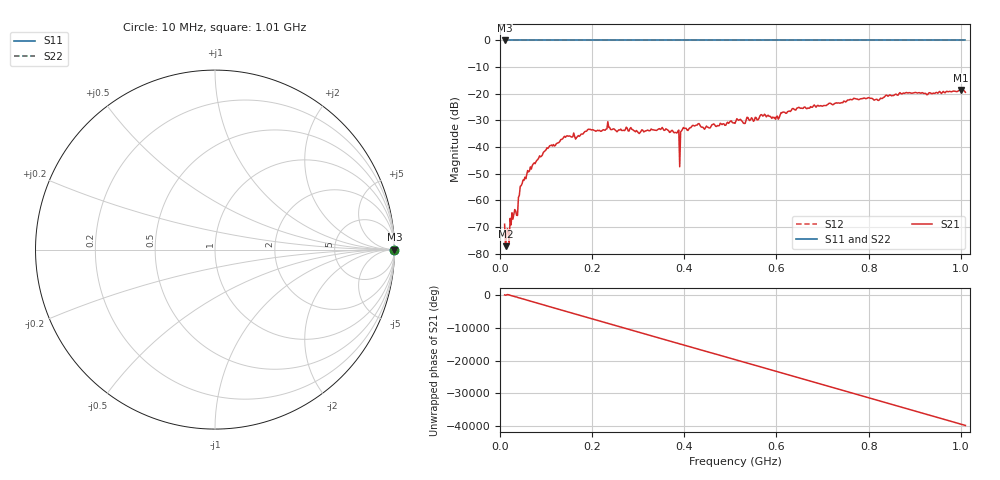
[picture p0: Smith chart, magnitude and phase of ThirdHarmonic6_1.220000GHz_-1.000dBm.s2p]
! 8/16/2025 12:47:47 PM
! C:\ANRITSUVNA\TEMP\TEMP.S2P
! CHANNEL.1
! TR.MEASUREMENT
! RAW.DATA
! RF.CORRECTION.OFF
! AVERAGING.OFF
! IF.BANDWIDTH: 5KHZ
! SWEEPTYPE:  FREQ.SWEEP(Linear)
! Reference Plane Port Info
! PORT:  PORT1  PORT2
! DISTANCE:  0  m  0  m
! TIME:  0  s  0  s
! PHASE.OFFSET:  0  deg.  0  deg.
! LOSS:  0  dB  0  dB
! REF.LOSS:  0  dB  0  dB
! REF.FREQ:  0  Hz  0  Hz
! Power Info
! POWER:  -20  dBm  -20  dBm
! EFF.POWER:  -20  dBm  -20  dBm
! SOURCE.ATTEN:  0  dB  0  dB
! TEST.ATTEN:  0  dB  0  dB
# GHZ S RI R 50.0
! FREQ.GHZ  S11RE  S11IM  S21RE  S21IM  S12RE  S12IM  S22RE  S22IM
!; PortSelection: Port_12
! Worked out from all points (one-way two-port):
!   501 points, 10 MHz to 1.01 GHz, reference 50 ohm
!   highest |S21| = -18.56 dB at 1 GHz (marker M1); lowest = -77.1 dB at 12 MHz (marker M2)
!   lowest |S11| = 0.0 dB at 10 MHz (marker M3)
!   |S11| at or under -10 dB: nowhere
!   |S22| runs from 0.0 to 0.0 dB; largest |S21 - S12| = 1.1
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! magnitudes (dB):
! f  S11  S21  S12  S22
! 10 MHz  0.0  -68.9  0.0  0.0
! 12 MHz  0.0  -77.1  0.0  0.0
! 16 MHz  0.0  -70.6  0.0  0.0
! 26 MHz  0.0  -64.6  0.0  0.0
! 38 MHz  0.0  -65.6  0.0  0.0
! 48 MHz  0.0  -53.7  0.0  0.0
! 70 MHz  0.0  -46.9  0.0  0.0
! 106 MHz  0.0  -40.0  0.0  0.0
! 178 MHz  0.0  -35.1  0.0  0.0
! 234 MHz  0.0  -30.5  0.0  0.0
! 344 MHz  0.0  -33.2  0.0  0.0
! 384 MHz  0.0  -34.7  0.0  0.0
! 386 MHz  0.0  -34.0  0.0  0.0
! 394 MHz  0.0  -33.9  0.0  0.0
! 396 MHz  0.0  -33.3  0.0  0.0
! 400 MHz  0.0  -32.9  0.0  0.0
! 510 MHz  0.0  -31.1  0.0  0.0
! 602 MHz  0.0  -28.4  0.0  0.0
! 678 MHz  0.0  -25.1  0.0  0.0
! 844 MHz  0.0  -20.7  0.0  0.0
! 1 GHz  0.0  -18.6  0.0  0.0
! 1.01 GHz  0.0  -19.4  0.0  0.0
